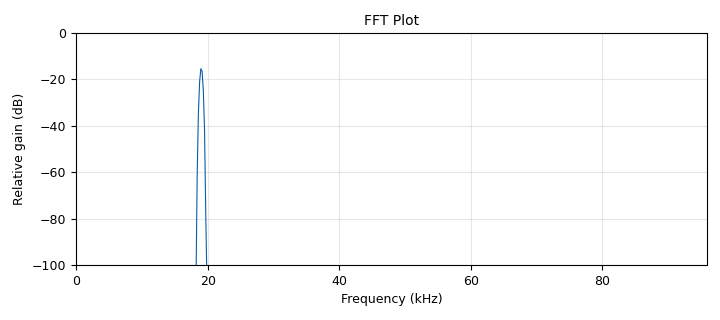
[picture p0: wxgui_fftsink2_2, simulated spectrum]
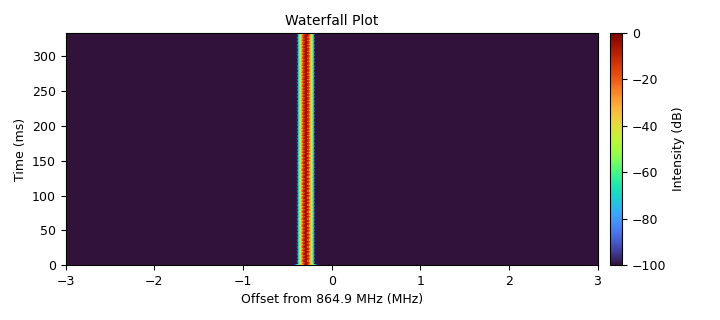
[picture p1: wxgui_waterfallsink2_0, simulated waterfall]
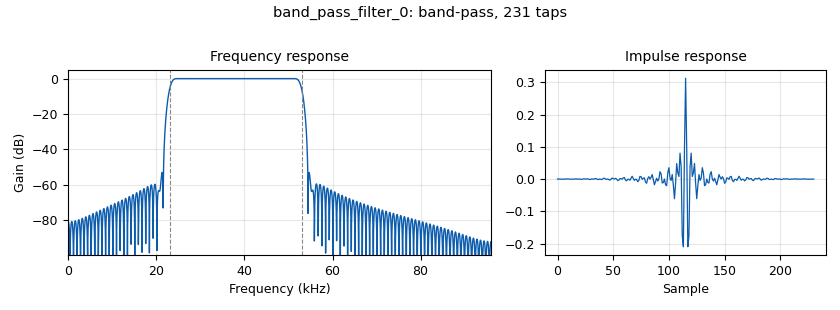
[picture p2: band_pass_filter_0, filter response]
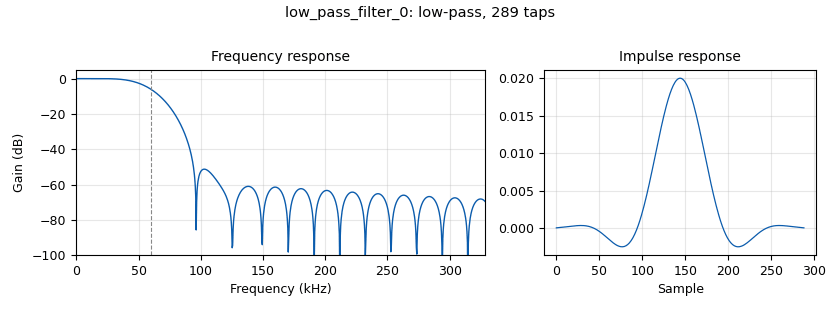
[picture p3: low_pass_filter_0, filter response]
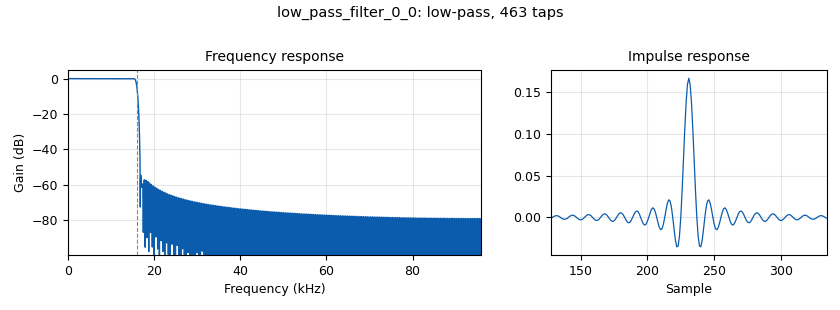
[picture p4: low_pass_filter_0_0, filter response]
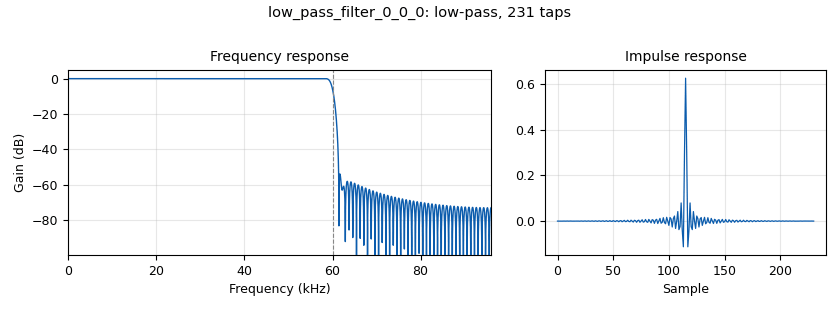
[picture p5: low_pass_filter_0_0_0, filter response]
<?xml version='1.0' encoding='utf-8'?>
<?grc format='1' created='3.7.11'?>
<flow_graph>
<block>
<key>options</key>
<param><key>id</key><value>top_block</value></param>
<param><key>category</key><value>Custom</value></param>
<param><key>generate_options</key><value>wx_gui</value></param>
</block>
<block>
<key>variable_text_box</key>
<param><key>id</key><value>carrier_freq</value></param>
<param><key>converver</key><value>float_converter</value></param>
<param><key>value</key><value>864.9e6</value></param>
<param><key>formatter</key><value>None</value></param>
<param><key>grid_pos</key><value>3,1,1,1</value></param>
<param><key>label</key><value></value></param>
</block>
<block>
<key>variable</key>
<param><key>id</key><value>emph_tau</value></param>
<param><key>value</key><value>75e-6</value></param>
</block>
<block>
<key>variable_chooser</key>
<param><key>id</key><value>enable_tone</value></param>
<param><key>choices</key><value>[0,1]</value></param>
<param><key>value</key><value>0</value></param>
<param><key>grid_pos</key><value>5,1,1,1</value></param>
<param><key>label</key><value>Tone</value></param>
<param><key>labels</key><value>['disabled','enabled']</value></param>
<param><key>style</key><value>wx.RA_HORIZONTAL</value></param>
<param><key>type</key><value>button</value></param>
</block>
<block>
<key>variable_slider</key>
<param><key>id</key><value>mono</value></param>
<param><key>converver</key><value>float_converter</value></param>
<param><key>value</key><value>0</value></param>
<param><key>grid_pos</key><value>6,2,1,1</value></param>
<param><key>label</key><value>Stereotest: Balance</value></param>
<param><key>max</key><value>1</value></param>
<param><key>min</key><value>-1</value></param>
<param><key>num_steps</key><value>2</value></param>
<param><key>style</key><value>wx.SL_HORIZONTAL</value></param>
</block>
<block>
<key>variable</key>
<param><key>id</key><value>out_rate</value></param>
<param><key>value</key><value>6000000</value></param>
</block>
<block>
<key>variable_slider</key>
<param><key>id</key><value>pilot_vol</value></param>
<param><key>converver</key><value>float_converter</value></param>
<param><key>value</key><value>500e-3</value></param>
<param><key>grid_pos</key><value>4,2,1,1</value></param>
<param><key>label</key><value>Pilot Volume</value></param>
<param><key>max</key><value>1</value></param>
<param><key>min</key><value>0</value></param>
<param><key>num_steps</key><value>10</value></param>
<param><key>style</key><value>wx.SL_HORIZONTAL</value></param>
</block>
<block>
<key>variable_chooser</key>
<param><key>id</key><value>ptt</value></param>
<param><key>choices</key><value>[0,1]</value></param>
<param><key>value</key><value>1</value></param>
<param><key>grid_pos</key><value>2,1,1,1</value></param>
<param><key>label</key><value>Transmit</value></param>
<param><key>labels</key><value>['off','on']</value></param>
<param><key>style</key><value>wx.RA_HORIZONTAL</value></param>
<param><key>type</key><value>button</value></param>
</block>
<block>
<key>variable</key>
<param><key>id</key><value>samp_rate</value></param>
<param><key>value</key><value>48000</value></param>
</block>
<block>
<key>variable</key>
<param><key>id</key><value>send_off</value></param>
<param><key>value</key><value>300e3</value></param>
</block>
<block>
<key>variable_slider</key>
<param><key>id</key><value>sensitivity</value></param>
<param><key>converver</key><value>float_converter</value></param>
<param><key>value</key><value>980e-3</value></param>
<param><key>grid_pos</key><value>3,2,1,1</value></param>
<param><key>label</key><value>FM Sensitivity</value></param>
<param><key>max</key><value>2</value></param>
<param><key>min</key><value>0</value></param>
<param><key>num_steps</key><value>100</value></param>
<param><key>style</key><value>wx.SL_HORIZONTAL</value></param>
</block>
<block>
<key>variable_chooser</key>
<param><key>id</key><value>stereo_test</value></param>
<param><key>choices</key><value>[0,1]</value></param>
<param><key>value</key><value>1</value></param>
<param><key>grid_pos</key><value>6,1,1,1</value></param>
<param><key>label</key><value>Stereotest:</value></param>
<param><key>labels</key><value>["disable","enable"]</value></param>
<param><key>style</key><value>wx.RA_HORIZONTAL</value></param>
<param><key>type</key><value>button</value></param>
</block>
<block>
<key>variable_slider</key>
<param><key>id</key><value>tone</value></param>
<param><key>converver</key><value>float_converter</value></param>
<param><key>value</key><value>800</value></param>
<param><key>grid_pos</key><value>5,2,1,1</value></param>
<param><key>label</key><value>Tone: Frequency</value></param>
<param><key>max</key><value>20e3</value></param>
<param><key>min</key><value>0</value></param>
<param><key>num_steps</key><value>1000</value></param>
<param><key>style</key><value>wx.SL_HORIZONTAL</value></param>
</block>
<block>
<key>variable</key>
<param><key>id</key><value>upsamp</value></param>
<param><key>value</key><value>4</value></param>
</block>
<block>
<key>variable_slider</key>
<param><key>id</key><value>volume</value></param>
<param><key>converver</key><value>float_converter</value></param>
<param><key>value</key><value>600e-3</value></param>
<param><key>grid_pos</key><value>2,2,1,1</value></param>
<param><key>label</key><value>Master Volume</value></param>
<param><key>max</key><value>10</value></param>
<param><key>min</key><value>0</value></param>
<param><key>num_steps</key><value>100</value></param>
<param><key>style</key><value>wx.SL_HORIZONTAL</value></param>
</block>
<block>
<key>analog_const_source_x</key>
<param><key>id</key><value>analog_const_source_x_0</value></param>
<param><key>const</key><value>0</value></param>
<param><key>_enabled</key><value>0</value></param>
<param><key>type</key><value>float</value></param>
</block>
<block>
<key>analog_const_source_x</key>
<param><key>id</key><value>analog_const_source_x_1</value></param>
<param><key>const</key><value>0</value></param>
<param><key>type</key><value>short</value></param>
</block>
<block>
<key>analog_fm_preemph</key>
<param><key>id</key><value>analog_fm_preemph_0_0_0</value></param>
<param><key>fh</key><value>-1.0</value></param>
<param><key>samp_rate</key><value>samp_rate</value></param>
<param><key>tau</key><value>emph_tau</value></param>
</block>
<block>
<key>analog_fm_preemph</key>
<param><key>id</key><value>analog_fm_preemph_0_1</value></param>
<param><key>fh</key><value>-1.0</value></param>
<param><key>samp_rate</key><value>samp_rate</value></param>
<param><key>tau</key><value>emph_tau</value></param>
</block>
<block>
<key>analog_frequency_modulator_fc</key>
<param><key>id</key><value>analog_frequency_modulator_fc_0</value></param>
<param><key>sensitivity</key><value>sensitivity</value></param>
</block>
<block>
<key>analog_sig_source_x</key>
<param><key>id</key><value>analog_sig_source_x_0</value></param>
<param><key>amp</key><value>0.5</value></param>
<param><key>freq</key><value>tone</value></param>
<param><key>offset</key><value>0</value></param>
<param><key>type</key><value>float</value></param>
<param><key>samp_rate</key><value>samp_rate*upsamp</value></param>
<param><key>waveform</key><value>analog.GR_COS_WAVE</value></param>
</block>
<block>
<key>analog_sig_source_x</key>
<param><key>id</key><value>analog_sig_source_x_1</value></param>
<param><key>amp</key><value>pilot_vol</value></param>
<param><key>freq</key><value>19e3</value></param>
<param><key>offset</key><value>0</value></param>
<param><key>type</key><value>float</value></param>
<param><key>samp_rate</key><value>samp_rate*upsamp</value></param>
<param><key>waveform</key><value>analog.GR_COS_WAVE</value></param>
</block>
<block>
<key>analog_sig_source_x</key>
<param><key>id</key><value>analog_sig_source_x_2</value></param>
<param><key>amp</key><value>1</value></param>
<param><key>freq</key><value>38e3</value></param>
<param><key>offset</key><value>0</value></param>
<param><key>type</key><value>float</value></param>
<param><key>samp_rate</key><value>samp_rate*upsamp</value></param>
<param><key>waveform</key><value>analog.GR_COS_WAVE</value></param>
</block>
<block>
<key>audio_sink</key>
<param><key>id</key><value>audio_sink_0</value></param>
<param><key>_enabled</key><value>0</value></param>
<param><key>samp_rate</key><value>samp_rate</value></param>
</block>
<block>
<key>audio_source</key>
<param><key>id</key><value>audio_source_0</value></param>
<param><key>_enabled</key><value>0</value></param>
<param><key>samp_rate</key><value>samp_rate</value></param>
</block>
<block>
<key>band_pass_filter</key>
<param><key>id</key><value>band_pass_filter_0</value></param>
<param><key>type</key><value>interp_fir_filter_fff</value></param>
<param><key>gain</key><value>1</value></param>
<param><key>high_cutoff_freq</key><value>53e3</value></param>
<param><key>interp</key><value>1</value></param>
<param><key>low_cutoff_freq</key><value>23e3</value></param>
<param><key>samp_rate</key><value>samp_rate*upsamp</value></param>
<param><key>width</key><value>2e3</value></param>
<param><key>win</key><value>firdes.WIN_HAMMING</value></param>
</block>
<block>
<key>blocks_add_xx</key>
<param><key>id</key><value>blocks_add_xx_0</value></param>
<param><key>type</key><value>float</value></param>
<param><key>num_inputs</key><value>3</value></param>
</block>
<block>
<key>blocks_add_xx</key>
<param><key>id</key><value>blocks_add_xx_1</value></param>
<param><key>type</key><value>float</value></param>
</block>
<block>
<key>blocks_add_xx</key>
<param><key>id</key><value>blocks_add_xx_2</value></param>
<param><key>type</key><value>float</value></param>
</block>
<block>
<key>blocks_add_xx</key>
<param><key>id</key><value>blocks_add_xx_3</value></param>
<param><key>type</key><value>float</value></param>
</block>
<block>
<key>blocks_file_descriptor_source</key>
<param><key>id</key><value>blocks_file_descriptor_source_0</value></param>
<param><key>_enabled</key><value>0</value></param>
<param><key>fd</key><value>0</value></param>
<param><key>type</key><value>short</value></param>
<param><key>repeat</key><value>True</value></param>
<param><key>vlen</key><value>2</value></param>
</block>
<block>
<key>blocks_file_source</key>
<param><key>id</key><value>blocks_file_source_0</value></param>
<param><key>_enabled</key><value>0</value></param>
<param><key>file</key><value>stream.fifo</value></param>
<param><key>type</key><value>short</value></param>
<param><key>repeat</key><value>True</value></param>
<param><key>vlen</key><value>2</value></param>
</block>
<block>
<key>blocks_multiply_const_vxx</key>
<param><key>id</key><value>blocks_multiply_const_vxx_0</value></param>
<param><key>const</key><value>1-enable_tone</value></param>
<param><key>type</key><value>float</value></param>
</block>
<block>
<key>blocks_multiply_const_vxx</key>
<param><key>id</key><value>blocks_multiply_const_vxx_1</value></param>
<param><key>const</key><value>enable_tone</value></param>
<param><key>type</key><value>float</value></param>
</block>
<block>
<key>blocks_multiply_const_vxx</key>
<param><key>id</key><value>blocks_multiply_const_vxx_2</value></param>
<param><key>const</key><value>ptt</value></param>
<param><key>type</key><value>complex</value></param>
</block>
<block>
<key>blocks_multiply_const_vxx</key>
<param><key>id</key><value>blocks_multiply_const_vxx_3</value></param>
<param><key>const</key><value>(3e-5,3e-5)</value></param>
<param><key>type</key><value>float</value></param>
<param><key>vlen</key><value>2</value></param>
</block>
<block>
<key>blocks_multiply_const_vxx</key>
<param><key>id</key><value>blocks_multiply_const_vxx_4</value></param>
<param><key>const</key><value>volume</value></param>
<param><key>type</key><value>float</value></param>
</block>
<block>
<key>blocks_multiply_const_vxx</key>
<param><key>id</key><value>blocks_multiply_const_vxx_4_0</value></param>
<param><key>const</key><value>volume</value></param>
<param><key>type</key><value>float</value></param>
</block>
<block>
<key>blocks_multiply_const_vxx</key>
<param><key>id</key><value>blocks_multiply_const_vxx_5</value></param>
<param><key>const</key><value>1-stereo_test</value></param>
<param><key>type</key><value>float</value></param>
</block>
<block>
<key>blocks_multiply_const_vxx</key>
<param><key>id</key><value>blocks_multiply_const_vxx_6</value></param>
<param><key>const</key><value>stereo_test*mono</value></param>
<param><key>type</key><value>float</value></param>
</block>
<block>
<key>blocks_multiply_xx</key>
<param><key>id</key><value>blocks_multiply_xx_0</value></param>
<param><key>type</key><value>float</value></param>
</block>
<block>
<key>blocks_short_to_float</key>
<param><key>id</key><value>blocks_short_to_float_0</value></param>
<param><key>scale</key><value>1</value></param>
<param><key>vlen</key><value>2</value></param>
</block>
<block>
<key>blocks_stream_to_vector</key>
<param><key>id</key><value>blocks_stream_to_vector_0</value></param>
<param><key>type</key><value>short</value></param>
</block>
<block>
<key>blocks_sub_xx</key>
<param><key>id</key><value>blocks_sub_xx_0</value></param>
<param><key>type</key><value>float</value></param>
</block>
<block>
<key>blocks_vector_to_streams</key>
<param><key>id</key><value>blocks_vector_to_streams_0</value></param>
<param><key>type</key><value>float</value></param>
</block>
<block>
<key>freq_xlating_fir_filter_xxx</key>
<param><key>id</key><value>freq_xlating_fir_filter_xxx_0</value></param>
<param><key>center_freq</key><value>send_off</value></param>
<param><key>decim</key><value>1</value></param>
<param><key>samp_rate</key><value>out_rate</value></param>
<param><key>taps</key><value>[1]</value></param>
<param><key>type</key><value>ccc</value></param>
</block>
<block>
<key>low_pass_filter</key>
<param><key>id</key><value>low_pass_filter_0</value></param>
<param><key>cutoff_freq</key><value>60e3</value></param>
<param><key>decim</key><value>1</value></param>
<param><key>type</key><value>fir_filter_ccf</value></param>
<param><key>gain</key><value>1</value></param>
<param><key>samp_rate</key><value>out_rate</value></param>
<param><key>width</key><value>50e3</value></param>
<param><key>win</key><value>firdes.WIN_HAMMING</value></param>
</block>
<block>
<key>low_pass_filter</key>
<param><key>id</key><value>low_pass_filter_0_0</value></param>
<param><key>cutoff_freq</key><value>16e3</value></param>
<param><key>decim</key><value>1</value></param>
<param><key>type</key><value>fir_filter_fff</value></param>
<param><key>gain</key><value>1</value></param>
<param><key>samp_rate</key><value>samp_rate*upsamp</value></param>
<param><key>width</key><value>1e3</value></param>
<param><key>win</key><value>firdes.WIN_HAMMING</value></param>
</block>
<block>
<key>low_pass_filter</key>
<param><key>id</key><value>low_pass_filter_0_0_0</value></param>
<param><key>cutoff_freq</key><value>60e3</value></param>
<param><key>decim</key><value>1</value></param>
<param><key>type</key><value>fir_filter_fff</value></param>
<param><key>gain</key><value>1</value></param>
<param><key>samp_rate</key><value>samp_rate*upsamp</value></param>
<param><key>width</key><value>2e3</value></param>
<param><key>win</key><value>firdes.WIN_HAMMING</value></param>
</block>
<block>
<key>low_pass_filter</key>
<param><key>id</key><value>low_pass_filter_1</value></param>
<param><key>cutoff_freq</key><value>16e3</value></param>
<param><key>_enabled</key><value>0</value></param>
<param><key>type</key><value>interp_fir_filter_fff</value></param>
<param><key>gain</key><value>1</value></param>
<param><key>interp</key><value>1</value></param>
<param><key>samp_rate</key><value>samp_rate*upsamp</value></param>
<param><key>width</key><value>2e3</value></param>
<param><key>win</key><value>firdes.WIN_HAMMING</value></param>
</block>
<block>
<key>notebook</key>
<param><key>id</key><value>nb</value></param>
<param><key>grid_pos</key><value>1,1,1,2</value></param>
<param><key>labels</key><value>['out', 'in', 'stereo']</value></param>
<param><key>style</key><value>wx.NB_TOP</value></param>
</block>
<block>
<key>osmosdr_sink</key>
<param><key>id</key><value>osmosdr_sink_0</value></param>
<param><key>bb_gain0</key><value>20</value></param>
<param><key>bw0</key><value>1e6</value></param>
<param><key>freq0</key><value>carrier_freq+send_off</value></param>
<param><key>if_gain0</key><value>25</value></param>
<param><key>gain0</key><value>14</value></param>
<param><key>args</key><value></value></param>
<param><key>type</key><value>fc32</value></param>
<param><key>sample_rate</key><value>out_rate</value></param>
<param><key>sync</key><value></value></param>
</block>
<block>
<key>rational_resampler_xxx</key>
<param><key>id</key><value>rational_resampler_xxx_0</value></param>
<param><key>decim</key><value>samp_rate*upsamp</value></param>
<param><key>interp</key><value>out_rate</value></param>
<param><key>taps</key><value></value></param>
<param><key>type</key><value>ccc</value></param>
</block>
<block>
<key>rational_resampler_xxx</key>
<param><key>id</key><value>rational_resampler_xxx_1</value></param>
<param><key>decim</key><value>1</value></param>
<param><key>interp</key><value>upsamp</value></param>
<param><key>taps</key><value></value></param>
<param><key>type</key><value>fff</value></param>
</block>
<block>
<key>rational_resampler_xxx</key>
<param><key>id</key><value>rational_resampler_xxx_1_0</value></param>
<param><key>decim</key><value>1</value></param>
<param><key>interp</key><value>upsamp</value></param>
<param><key>taps</key><value></value></param>
<param><key>type</key><value>fff</value></param>
</block>
<block>
<key>rational_resampler_xxx</key>
<param><key>id</key><value>rational_resampler_xxx_3</value></param>
<param><key>decim</key><value>samp_rate</value></param>
<param><key>_enabled</key><value>0</value></param>
<param><key>interp</key><value>samp_rate*upsamp</value></param>
<param><key>taps</key><value></value></param>
<param><key>type</key><value>fff</value></param>
</block>
<block>
<key>wxgui_fftsink2</key>
<param><key>id</key><value>wxgui_fftsink2_0</value></param>
<param><key>avg_alpha</key><value>0</value></param>
<param><key>average</key><value>False</value></param>
<param><key>baseband_freq</key><value>0</value></param>
<param><key>_enabled</key><value>0</value></param>
<param><key>fft_size</key><value>1024</value></param>
<param><key>freqvar</key><value>None</value></param>
<param><key>grid_pos</key><value>2,2,1,1</value></param>
<param><key>peak_hold</key><value>False</value></param>
<param><key>ref_level</key><value>0</value></param>
<param><key>ref_scale</key><value>2.0</value></param>
<param><key>fft_rate</key><value>15</value></param>
<param><key>samp_rate</key><value>samp_rate*upsamp</value></param>
<param><key>title</key><value>FFT Plot</value></param>
<param><key>type</key><value>complex</value></param>
<param><key>win</key><value>None</value></param>
<param><key>y_divs</key><value>10</value></param>
<param><key>y_per_div</key><value>10</value></param>
</block>
<block>
<key>wxgui_fftsink2</key>
<param><key>id</key><value>wxgui_fftsink2_1</value></param>
<param><key>avg_alpha</key><value>0</value></param>
<param><key>average</key><value>False</value></param>
<param><key>baseband_freq</key><value>0</value></param>
<param><key>fft_size</key><value>1024</value></param>
<param><key>freqvar</key><value>None</value></param>
<param><key>grid_pos</key><value>1,1,1,1</value></param>
<param><key>notebook</key><value>nb, 1</value></param>
<param><key>peak_hold</key><value>False</value></param>
<param><key>ref_level</key><value>0</value></param>
<param><key>ref_scale</key><value>2.0</value></param>
<param><key>fft_rate</key><value>15</value></param>
<param><key>samp_rate</key><value>samp_rate</value></param>
<param><key>title</key><value>Left</value></param>
<param><key>type</key><value>float</value></param>
<param><key>win</key><value>None</value></param>
<param><key>y_divs</key><value>10</value></param>
<param><key>y_per_div</key><value>10</value></param>
</block>
<block>
<key>wxgui_fftsink2</key>
<param><key>id</key><value>wxgui_fftsink2_2</value></param>
<param><key>avg_alpha</key><value>0</value></param>
<param><key>average</key><value>False</value></param>
<param><key>baseband_freq</key><value>0</value></param>
<param><key>fft_size</key><value>1024</value></param>
<param><key>freqvar</key><value>None</value></param>
<param><key>grid_pos</key><value>1,1,1,1</value></param>
<param><key>notebook</key><value>nb,0</value></param>
<param><key>peak_hold</key><value>False</value></param>
<param><key>ref_level</key><value>0</value></param>
<param><key>ref_scale</key><value>2.0</value></param>
<param><key>fft_rate</key><value>15</value></param>
<param><key>samp_rate</key><value>samp_rate*upsamp</value></param>
<param><key>title</key><value>FFT Plot</value></param>
<param><key>type</key><value>float</value></param>
<param><key>win</key><value>None</value></param>
<param><key>y_divs</key><value>10</value></param>
<param><key>y_per_div</key><value>10</value></param>
</block>
<block>
<key>wxgui_fftsink2</key>
<param><key>id</key><value>wxgui_fftsink2_3</value></param>
<param><key>avg_alpha</key><value>0</value></param>
<param><key>average</key><value>False</value></param>
<param><key>baseband_freq</key><value>0</value></param>
<param><key>fft_size</key><value>1024</value></param>
<param><key>freqvar</key><value>None</value></param>
<param><key>grid_pos</key><value>1,2,1,1</value></param>
<param><key>notebook</key><value>nb, 1</value></param>
<param><key>peak_hold</key><value>False</value></param>
<param><key>ref_level</key><value>0</value></param>
<param><key>ref_scale</key><value>2.0</value></param>
<param><key>fft_rate</key><value>15</value></param>
<param><key>samp_rate</key><value>samp_rate</value></param>
<param><key>title</key><value>Right</value></param>
<param><key>type</key><value>float</value></param>
<param><key>win</key><value>None</value></param>
<param><key>y_divs</key><value>10</value></param>
<param><key>y_per_div</key><value>10</value></param>
</block>
<block>
<key>wxgui_fftsink2</key>
<param><key>id</key><value>wxgui_fftsink2_3_0</value></param>
<param><key>avg_alpha</key><value>0</value></param>
<param><key>average</key><value>False</value></param>
<param><key>baseband_freq</key><value>0</value></param>
<param><key>fft_size</key><value>1024</value></param>
<param><key>freqvar</key><value>None</value></param>
<param><key>grid_pos</key><value>1,2,1,1</value></param>
<param><key>notebook</key><value>nb, 2</value></param>
<param><key>peak_hold</key><value>False</value></param>
<param><key>ref_level</key><value>0</value></param>
<param><key>ref_scale</key><value>2.0</value></param>
<param><key>fft_rate</key><value>15</value></param>
<param><key>samp_rate</key><value>samp_rate*upsamp</value></param>
<param><key>title</key><value>Diff</value></param>
<param><key>type</key><value>float</value></param>
<param><key>win</key><value>None</value></param>
<param><key>y_divs</key><value>10</value></param>
<param><key>y_per_div</key><value>10</value></param>
</block>
<block>
<key>wxgui_fftsink2</key>
<param><key>id</key><value>wxgui_fftsink2_3_0_0</value></param>
<param><key>avg_alpha</key><value>0</value></param>
<param><key>average</key><value>False</value></param>
<param><key>baseband_freq</key><value>0</value></param>
<param><key>fft_size</key><value>1024</value></param>
<param><key>freqvar</key><value>None</value></param>
<param><key>grid_pos</key><value>1,1,1,1</value></param>
<param><key>notebook</key><value>nb, 2</value></param>
<param><key>peak_hold</key><value>False</value></param>
<param><key>ref_level</key><value>0</value></param>
<param><key>ref_scale</key><value>2.0</value></param>
<param><key>fft_rate</key><value>15</value></param>
<param><key>samp_rate</key><value>samp_rate*upsamp</value></param>
<param><key>title</key><value>Sum</value></param>
<param><key>type</key><value>float</value></param>
<param><key>win</key><value>None</value></param>
<param><key>y_divs</key><value>10</value></param>
<param><key>y_per_div</key><value>10</value></param>
</block>
<block>
<key>wxgui_waterfallsink2</key>
<param><key>id</key><value>wxgui_waterfallsink2_0</value></param>
<param><key>avg_alpha</key><value>0</value></param>
<param><key>average</key><value>False</value></param>
<param><key>baseband_freq</key><value>carrier_freq</value></param>
<param><key>dynamic_range</key><value>100</value></param>
<param><key>fft_rate</key><value>15</value></param>
<param><key>fft_size</key><value>512</value></param>
<param><key>freqvar</key><value>None</value></param>
<param><key>grid_pos</key><value>1,2,1,1</value></param>
<param><key>notebook</key><value>nb,0</value></param>
<param><key>ref_scale</key><value>2.0</value></param>
<param><key>ref_level</key><value>0</value></param>
<param><key>samp_rate</key><value>out_rate</value></param>
<param><key>title</key><value>Waterfall Plot</value></param>
<param><key>type</key><value>complex</value></param>
<param><key>win</key><value>None</value></param>
</block>
<connection><source_block_id>analog_const_source_x_0</source_block_id><sink_block_id>blocks_add_xx_3</sink_block_id><source_key>0</source_key><sink_key>0</sink_key></connection>
<connection><source_block_id>analog_const_source_x_1</source_block_id><sink_block_id>blocks_stream_to_vector_0</sink_block_id><source_key>0</source_key><sink_key>0</sink_key></connection>
<connection><source_block_id>analog_fm_preemph_0_0_0</source_block_id><sink_block_id>blocks_add_xx_2</sink_block_id><source_key>0</source_key><sink_key>1</sink_key></connection>
<connection><source_block_id>analog_fm_preemph_0_0_0</source_block_id><sink_block_id>blocks_sub_xx_0</sink_block_id><source_key>0</source_key><sink_key>1</sink_key></connection>
<connection><source_block_id>analog_fm_preemph_0_1</source_block_id><sink_block_id>blocks_add_xx_2</sink_block_id><source_key>0</source_key><sink_key>0</sink_key></connection>
<connection><source_block_id>analog_fm_preemph_0_1</source_block_id><sink_block_id>blocks_sub_xx_0</sink_block_id><source_key>0</source_key><sink_key>0</sink_key></connection>
<connection><source_block_id>analog_frequency_modulator_fc_0</source_block_id><sink_block_id>blocks_multiply_const_vxx_2</sink_block_id><source_key>0</source_key><sink_key>0</sink_key></connection>
<connection><source_block_id>analog_sig_source_x_0</source_block_id><sink_block_id>blocks_multiply_const_vxx_1</sink_block_id><source_key>0</source_key><sink_key>0</sink_key></connection>
<connection><source_block_id>analog_sig_source_x_1</source_block_id><sink_block_id>blocks_add_xx_0</sink_block_id><source_key>0</source_key><sink_key>2</sink_key></connection>
<connection><source_block_id>analog_sig_source_x_2</source_block_id><sink_block_id>blocks_multiply_xx_0</sink_block_id><source_key>0</source_key><sink_key>0</sink_key></connection>
<connection><source_block_id>audio_source_0</source_block_id><sink_block_id>blocks_multiply_const_vxx_0</sink_block_id><source_key>0</source_key><sink_key>0</sink_key></connection>
<connection><source_block_id>band_pass_filter_0</source_block_id><sink_block_id>blocks_add_xx_3</sink_block_id><source_key>0</source_key><sink_key>0</sink_key></connection>
<connection><source_block_id>blocks_add_xx_0</source_block_id><sink_block_id>low_pass_filter_0_0_0</sink_block_id><source_key>0</source_key><sink_key>0</sink_key></connection>
<connection><source_block_id>blocks_add_xx_1</source_block_id><sink_block_id>rational_resampler_xxx_1</sink_block_id><source_key>0</source_key><sink_key>0</sink_key></connection>
<connection><source_block_id>blocks_add_xx_2</source_block_id><sink_block_id>blocks_multiply_const_vxx_6</sink_block_id><source_key>0</source_key><sink_key>0</sink_key></connection>
<connection><source_block_id>blocks_add_xx_2</source_block_id><sink_block_id>rational_resampler_xxx_1_0</sink_block_id><source_key>0</source_key><sink_key>0</sink_key></connection>
<connection><source_block_id>blocks_add_xx_2</source_block_id><sink_block_id>wxgui_fftsink2_3_0_0</sink_block_id><source_key>0</source_key><sink_key>0</sink_key></connection>
<connection><source_block_id>blocks_add_xx_3</source_block_id><sink_block_id>blocks_multiply_const_vxx_0</sink_block_id><source_key>0</source_key><sink_key>0</sink_key></connection>
<connection><source_block_id>blocks_file_descriptor_source_0</source_block_id><sink_block_id>blocks_short_to_float_0</sink_block_id><source_key>0</source_key><sink_key>0</sink_key></connection>
<connection><source_block_id>blocks_file_source_0</source_block_id><sink_block_id>blocks_short_to_float_0</sink_block_id><source_key>0</source_key><sink_key>0</sink_key></connection>
<connection><source_block_id>blocks_multiply_const_vxx_0</source_block_id><sink_block_id>blocks_add_xx_0</sink_block_id><source_key>0</source_key><sink_key>1</sink_key></connection>
<connection><source_block_id>blocks_multiply_const_vxx_1</source_block_id><sink_block_id>blocks_add_xx_0</sink_block_id><source_key>0</source_key><sink_key>0</sink_key></connection>
<connection><source_block_id>blocks_multiply_const_vxx_2</source_block_id><sink_block_id>rational_resampler_xxx_0</sink_block_id><source_key>0</source_key><sink_key>0</sink_key></connection>
<connection><source_block_id>blocks_multiply_const_vxx_2</source_block_id><sink_block_id>wxgui_fftsink2_0</sink_block_id><source_key>0</source_key><sink_key>0</sink_key></connection>
<connection><source_block_id>blocks_multiply_const_vxx_3</source_block_id><sink_block_id>blocks_vector_to_streams_0</sink_block_id><source_key>0</source_key><sink_key>0</sink_key></connection>
<connection><source_block_id>blocks_multiply_const_vxx_4</source_block_id><sink_block_id>analog_fm_preemph_0_0_0</sink_block_id><source_key>0</source_key><sink_key>0</sink_key></connection>
<connection><source_block_id>blocks_multiply_const_vxx_4_0</source_block_id><sink_block_id>analog_fm_preemph_0_1</sink_block_id><source_key>0</source_key><sink_key>0</sink_key></connection>
<connection><source_block_id>blocks_multiply_const_vxx_5</source_block_id><sink_block_id>blocks_add_xx_1</sink_block_id><source_key>0</source_key><sink_key>0</sink_key></connection>
<connection><source_block_id>blocks_multiply_const_vxx_6</source_block_id><sink_block_id>blocks_add_xx_1</sink_block_id><source_key>0</source_key><sink_key>1</sink_key></connection>
<connection><source_block_id>blocks_multiply_xx_0</source_block_id><sink_block_id>band_pass_filter_0</sink_block_id><source_key>0</source_key><sink_key>0</sink_key></connection>
<connection><source_block_id>blocks_short_to_float_0</source_block_id><sink_block_id>blocks_multiply_const_vxx_3</sink_block_id><source_key>0</source_key><sink_key>0</sink_key></connection>
<connection><source_block_id>blocks_stream_to_vector_0</source_block_id><sink_block_id>blocks_short_to_float_0</sink_block_id><source_key>0</source_key><sink_key>0</sink_key></connection>
<connection><source_block_id>blocks_sub_xx_0</source_block_id><sink_block_id>blocks_multiply_const_vxx_5</sink_block_id><source_key>0</source_key><sink_key>0</sink_key></connection>
<connection><source_block_id>blocks_sub_xx_0</source_block_id><sink_block_id>wxgui_fftsink2_3_0</sink_block_id><source_key>0</source_key><sink_key>0</sink_key></connection>
<connection><source_block_id>blocks_vector_to_streams_0</source_block_id><sink_block_id>blocks_multiply_const_vxx_4_0</sink_block_id><source_key>0</source_key><sink_key>0</sink_key></connection>
<connection><source_block_id>blocks_vector_to_streams_0</source_block_id><sink_block_id>wxgui_fftsink2_1</sink_block_id><source_key>0</source_key><sink_key>0</sink_key></connection>
<connection><source_block_id>blocks_vector_to_streams_0</source_block_id><sink_block_id>blocks_multiply_const_vxx_4</sink_block_id><source_key>1</source_key><sink_key>0</sink_key></connection>
<connection><source_block_id>blocks_vector_to_streams_0</source_block_id><sink_block_id>wxgui_fftsink2_3</sink_block_id><source_key>1</source_key><sink_key>0</sink_key></connection>
<connection><source_block_id>freq_xlating_fir_filter_xxx_0</source_block_id><sink_block_id>osmosdr_sink_0</sink_block_id><source_key>0</source_key><sink_key>0</sink_key></connection>
<connection><source_block_id>freq_xlating_fir_filter_xxx_0</source_block_id><sink_block_id>wxgui_waterfallsink2_0</sink_block_id><source_key>0</source_key><sink_key>0</sink_key></connection>
<connection><source_block_id>low_pass_filter_0</source_block_id><sink_block_id>freq_xlating_fir_filter_xxx_0</sink_block_id><source_key>0</source_key><sink_key>0</sink_key></connection>
<connection><source_block_id>low_pass_filter_0_0</source_block_id><sink_block_id>blocks_add_xx_3</sink_block_id><source_key>0</source_key><sink_key>1</sink_key></connection>
<connection><source_block_id>low_pass_filter_0_0_0</source_block_id><sink_block_id>analog_frequency_modulator_fc_0</sink_block_id><source_key>0</source_key><sink_key>0</sink_key></connection>
<connection><source_block_id>low_pass_filter_0_0_0</source_block_id><sink_block_id>low_pass_filter_1</sink_block_id><source_key>0</source_key><sink_key>0</sink_key></connection>
<connection><source_block_id>low_pass_filter_0_0_0</source_block_id><sink_block_id>wxgui_fftsink2_2</sink_block_id><source_key>0</source_key><sink_key>0</sink_key></connection>
<connection><source_block_id>low_pass_filter_1</source_block_id><sink_block_id>rational_resampler_xxx_3</sink_block_id><source_key>0</source_key><sink_key>0</sink_key></connection>
<connection><source_block_id>rational_resampler_xxx_0</source_block_id><sink_block_id>low_pass_filter_0</sink_block_id><source_key>0</source_key><sink_key>0</sink_key></connection>
<connection><source_block_id>rational_resampler_xxx_1</source_block_id><sink_block_id>blocks_multiply_xx_0</sink_block_id><source_key>0</source_key><sink_key>1</sink_key></connection>
<connection><source_block_id>rational_resampler_xxx_1_0</source_block_id><sink_block_id>low_pass_filter_0_0</sink_block_id><source_key>0</source_key><sink_key>0</sink_key></connection>
<connection><source_block_id>rational_resampler_xxx_3</source_block_id><sink_block_id>audio_sink_0</sink_block_id><source_key>0</source_key><sink_key>0</sink_key></connection>
</flow_graph>
